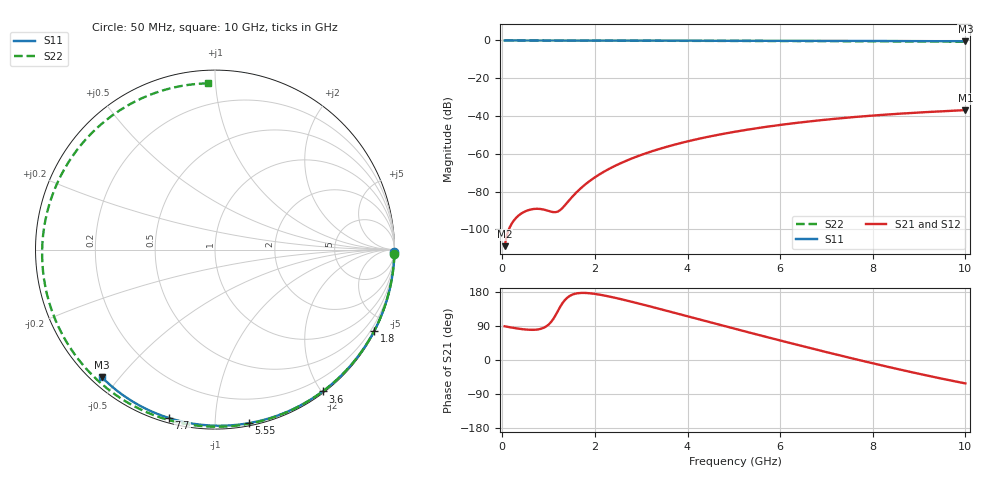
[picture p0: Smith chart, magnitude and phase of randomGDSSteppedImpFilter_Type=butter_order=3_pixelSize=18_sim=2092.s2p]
! freq	dB(S11)	phase(S11)	dB(S12)	phase(S12)
!  dB(S21)	phase(S21)	dB(S22)	phase(S22)
!S-par simulation data
#  GHz  S  DB  R 50
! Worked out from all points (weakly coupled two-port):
!   200 points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, 50 MHz to 10 GHz, reference 50 ohm
!   highest |S21| = -36.91 dB at 10 GHz (marker M1); lowest = -109.0 dB at 50 MHz (marker M2)
!   lowest |S11| = -0.4 dB at 10 GHz (marker M3), VSWR 39.00, Z = 1.54 - j22.4 ohm
!   |S11| at or under -10 dB: nowhere
!   |S22| runs from -0.7 to 0.0 dB; largest |S21 - S12| = 0
!   S11 on the Smith chart (normalised r, x): 50 MHz: open; 1.8 GHz: 0.04, -4.16; 3.6 GHz: 0.02, -2.01; 5.55 GHz: 0.02, -1.22; 7.7 GHz: 0.02, -0.76; 10 GHz: 0.03, -0.45
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0.05  -0.00 -0.8  -108.95 89.0  -108.95 89.0  -0.00 -1.5
0.4  -0.01 -6.1  -91.82 81.8  -91.82 81.8  -0.02 -12.2
0.8  -0.02 -12.1  -89.21 81.3  -89.21 81.3  -0.03 -24.2
1.6  -0.03 -24.1  -80.50 175.6  -80.50 175.6  -0.06 -47.7
1.75  -0.03 -26.3  -77.10 177.1  -77.10 177.1  -0.07 -52.0
1.8  -0.03 -27.0  -76.08 176.9  -76.08 176.9  -0.07 -53.4
2.1  -0.04 -31.4  -70.91 172.5  -70.91 172.5  -0.08 -61.8
2.45  -0.05 -36.5  -66.23 163.7  -66.23 163.7  -0.09 -71.5
2.9  -0.06 -43.0  -61.53 150.5  -61.53 150.5  -0.10 -83.5
3.4  -0.07 -50.0  -57.40 134.7  -57.40 134.7  -0.12 -96.5
3.6  -0.07 -52.8  -55.98 128.3  -55.98 128.3  -0.13 -101.6
4.3  -0.09 -62.4  -51.77 105.7  -51.77 105.7  -0.16 -119.0
5.05  -0.11 -72.4  -48.24 81.5  -48.24 81.5  -0.20 -137.0
5.55  -0.13 -78.9  -46.28 65.6  -46.28 65.6  -0.23 -148.9
6.15  -0.15 -86.5  -44.27 46.8  -44.27 46.8  -0.27 -163.1
6.7  -0.18 -93.3  -42.70 29.9  -42.70 29.9  -0.31 -176.3
7.2  -0.21 -99.3  -41.45 14.8  -41.45 14.8  -0.36 171.4
7.7  -0.24 -105.3  -40.36 -0.0  -40.36 -0.0  -0.41 158.7
8.35  -0.29 -112.9  -39.16 -18.7  -39.16 -18.7  -0.47 141.4
9.25  -0.37 -123.2  -37.82 -43.1  -37.82 -43.1  -0.57 115.7
9.65  -0.41 -127.7  -37.32 -53.3  -37.32 -53.3  -0.62 103.5
10  -0.45 -131.7  -36.91 -61.8  -36.91 -61.8  -0.66 92.4
